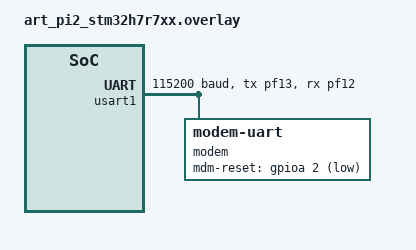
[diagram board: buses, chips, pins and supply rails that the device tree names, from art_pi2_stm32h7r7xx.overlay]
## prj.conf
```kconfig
# Copyright (c) 2021 Nordic Semiconductor ASA
# SPDX-License-Identifier: Apache-2.0
#
# This file contains selected Kconfig options for the application.
CONFIG_LOG=y
CONFIG_GPIO=y
CONFIG_SERIAL=y
CONFIG_MODEM=y
CONFIG_PM_DEVICE=y
CONFIG_PM_DEVICE_RUNTIME=y
CONFIG_MODEM_ZEPHYR_MODEM_UART=y
# CONFIG_UART_ASYNC_API=y
CONFIG_UART_INTERRUPT_DRIVEN=y
CONFIG_MODEM_MODULES_LOG_LEVEL_DBG=y

CONFIG_MODEM_CHAT=y
```

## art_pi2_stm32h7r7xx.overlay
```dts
/ {
	aliases {
			modem = &modem;
	};
};

&usart1 {
	pinctrl-0 = <&usart1_tx_pf13 &usart1_rx_pf12>;
	pinctrl-names = "default";
	current-speed = <115200>;
	status = "okay";
    	modem: modem {
		compatible = "zephyr,modem-uart";
		mdm-reset-gpios = <&gpioa 2 GPIO_ACTIVE_LOW>;
		// mdm-startup-time-ms = <1000>;
		status = "okay";
	};
};
```

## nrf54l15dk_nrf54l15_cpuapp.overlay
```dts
// To get started, press Ctrl+Space to bring up the completion menu and view the available nodes.

// You can also use the buttons in the sidebar to perform actions on nodes.
// Actions currently available include:

// * Enabling / disabling the node
// * Adding the bus to a bus
// * Removing the node
// * Connecting ADC channels

// For more help, browse the DeviceTree documentation at https: //docs.zephyrproject.org/latest/guides/dts/index.html
// You can also visit the nRF DeviceTree extension documentation at https: //docs.nordicsemi.com/bundle/nrf-connect-vscode/page/guides/ncs_configure_app.html#devicetree-support-in-the-extension
/ {
	aliases {
			modem = &modem;
	};
};

// &uart30 {
// 	status = "okay";
// 	modem: modem {
// 		compatible = "quectel,eg25-g";
// 		mdm-reset-gpios = <&gpio1 11 GPIO_ACTIVE_HIGH>;
// 		status = "okay";
// 	};
// };

// &uart30_default {
// 	group1 {
// 		psels = <NRF_PSEL(UART_TX, 0, 0)>;
// 	};

// 	group2 {
// 		psels = <NRF_PSEL(UART_RX, 0, 1)>;
// 		bias-pull-up;
// 	};
// };

&uart22 {
	current-speed = <115200>;
	// current-speed = <921600>;
	status = "okay";
	pinctrl-0 = <&uart22_default>;
	pinctrl-1 = <&uart22_sleep>;
	pinctrl-names = "default", "sleep";
	modem: modem {
		compatible = "zephyr,modem-uart";
		mdm-reset-gpios = <&gpio1 11 GPIO_ACTIVE_LOW>;
		// mdm-startup-time-ms = <1000>;
		status = "okay";
	};
};

&pinctrl {
	uart22_default: uart22_default {
		group1 {
			psels = <NRF_PSEL(UART_TX, 1, 12)>;
		};

		group2 {
			psels = <NRF_PSEL(UART_RX, 1, 13)>;
			bias-pull-up;
		};
	};
	uart22_sleep: uart30_sleep {
		group1 {
			psels = <NRF_PSEL(UART_TX, 0, 0)>,
				<NRF_PSEL(UART_RX, 0, 1)>;
			low-power-enable;
		};
	};
};
```

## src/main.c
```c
/*
 * Copyright (c) 2021 Nordic Semiconductor ASA
 * SPDX-License-Identifier: Apache-2.0
 */

#include <zephyr/kernel.h>
#include <zephyr/logging/log.h>
#include <zephyr/device.h>
#include <zephyr/pm/device.h>
#include <zephyr/pm/device_runtime.h>
#include <zephyr/modem/chat.h>
#include <zephyr/modem/pipelink.h>

LOG_MODULE_REGISTER(main, CONFIG_APP_LOG_LEVEL);

#define EG25G_MODEM_NODE    DT_ALIAS(modem)
#define EG25G_PIPELINK_NAME _CONCAT(user_pipe_, 0)

const struct device* modem = DEVICE_DT_GET(DT_ALIAS(modem));

MODEM_PIPELINK_DT_DECLARE(EG25G_MODEM_NODE, EG25G_PIPELINK_NAME);
static struct modem_pipelink* eg25g_pipelink = MODEM_PIPELINK_DT_GET(EG25G_MODEM_NODE,
                                                                     EG25G_PIPELINK_NAME);
uint8_t eg25g_chat_r_buf[128];
uint8_t* eg25g_chat_arg_buf[32];

static struct modem_chat eg25g_chat;
static struct modem_chat_config eg25g_chat_config = {
    .receive_buf      = eg25g_chat_r_buf,
    .receive_buf_size = sizeof(eg25g_chat_r_buf),
    .delimiter        = "\r",
    .delimiter_size   = 1,
    .filter           = "\n",
    .filter_size      = 1,
    .argv             = eg25g_chat_arg_buf,
    .argv_size        = ARRAY_SIZE(eg25g_chat_arg_buf),
};

static void modem_cellular_chat_callback_handler(struct modem_chat* chat,
                                                 enum modem_chat_script_result result,
                                                 void* user_data);
static void modem_cellular_chat_connect_callback_handler(struct modem_chat* chat,
                                                         enum modem_chat_script_result result,
                                                         void* user_data);

MODEM_CHAT_MATCH_DEFINE(ok_match, "OK", "", NULL);
MODEM_CHAT_MATCH_DEFINE(connect_match, "CONNECT", "", NULL);
MODEM_CHAT_MATCHES_DEFINE(abort_matches, MODEM_CHAT_MATCH("ERROR", "", NULL));
MODEM_CHAT_MATCHES_DEFINE(alow_matches,
                          MODEM_CHAT_MATCH("OK", "", NULL),
                          MODEM_CHAT_MATCH("ERROR", "", NULL));

MODEM_CHAT_SCRIPT_CMDS_DEFINE(eg25g_init_chat_script_cmds,
                              MODEM_CHAT_SCRIPT_CMD_RESP("AT&F", ok_match),
                              MODEM_CHAT_SCRIPT_CMD_RESP("ATE0", ok_match),
                              //   MODEM_CHAT_SCRIPT_CMD_RESP("AT+CFUN=4", ok_match),
                              MODEM_CHAT_SCRIPT_CMD_RESP("AT+CMEE=1", ok_match),
                              MODEM_CHAT_SCRIPT_CMD_RESP("AT+CREG=1", ok_match),
                              MODEM_CHAT_SCRIPT_CMD_RESP("AT+CGREG=1", ok_match),
                              MODEM_CHAT_SCRIPT_CMD_RESP("AT+CEREG=1", ok_match),
                              MODEM_CHAT_SCRIPT_CMD_RESP("AT+CREG?", ok_match),
                              MODEM_CHAT_SCRIPT_CMD_RESP("AT+CEREG?", ok_match),
                              MODEM_CHAT_SCRIPT_CMD_RESP("AT+CGREG?", ok_match),
                              MODEM_CHAT_SCRIPT_CMD_RESP("AT+CSQ", ok_match),
                              MODEM_CHAT_SCRIPT_CMD_RESP("AT+CPIN?", ok_match));
//   MODEM_CHAT_SCRIPT_CMD_RESP("AT+CGSN", imei_match),
//   MODEM_CHAT_SCRIPT_CMD_RESP("", ok_match),
//   MODEM_CHAT_SCRIPT_CMD_RESP("AT+CGMM", cgmm_match),
//   MODEM_CHAT_SCRIPT_CMD_RESP("", ok_match),
//   MODEM_CHAT_SCRIPT_CMD_RESP("AT+CGMI", cgmi_match),备忘AT+QIOPEN=1,0,"TCP","220.180.239.212",8009,0,2
//   MODEM_CHAT_SCRIPT_CMD_RESP("", ok_match),
//   MODEM_CHAT_SCRIPT_CMD_RESP("AT+CGMR", cgmr_match),
//   MODEM_CHAT_SCRIPT_CMD_RESP("", ok_match),
//   MODEM_CHAT_SCRIPT_CMD_RESP("AT+CIMI", cimi_match),
//   MODEM_CHAT_SCRIPT_CMD_RESP("", ok_match),
//   MODEM_CHAT_SCRIPT_CMD_RESP_NONE("AT+CMUX=0,0,5,127,10,3,30,10,2",
//                                   100));

MODEM_CHAT_SCRIPT_DEFINE(eg25g_init_chat_script,
                         eg25g_init_chat_script_cmds,
                         abort_matches,
                         modem_cellular_chat_callback_handler,
                         20);

MODEM_CHAT_SCRIPT_CMDS_DEFINE(
    eg25g_connect_chat_script_cmds,
    // MODEM_CHAT_SCRIPT_CMD_RESP("AT+CFUN=1", ok_match),
    // MODEM_CHAT_SCRIPT_CMD_RESP("AT+CREG?", ok_match),
    // MODEM_CHAT_SCRIPT_CMD_RESP("AT+CGDCONT=1,\"IP\",\"cmiot\"", ok_match),
    // MODEM_CHAT_SCRIPT_CMD_RESP_MULT("AT+CGACT=1,1", alow_matches),
    // MODEM_CHAT_SCRIPT_CMD_RESP("AT+CSQ", ok_match),
    MODEM_CHAT_SCRIPT_CMD_RESP("AT+QICSGP=1,1,\"cmiot\",\"\",\"\",0", ok_match),
    MODEM_CHAT_SCRIPT_CMD_RESP("AT+QIDEACT=1", ok_match),
    MODEM_CHAT_SCRIPT_CMD_RESP("AT+QIACT=1", ok_match),
    MODEM_CHAT_SCRIPT_CMD_RESP("AT+QIOPEN=1,0,\"TCP\",\"112.125.89.8\",46650,0,2", connect_match));

MODEM_CHAT_SCRIPT_DEFINE(eg25g_connect_chat_script,
                         eg25g_connect_chat_script_cmds,
                         abort_matches,
                         modem_cellular_chat_connect_callback_handler,
                         20);

MODEM_CHAT_SCRIPT_CMDS_DEFINE(eg25g_periodic_chat_script_cmds,
                              MODEM_CHAT_SCRIPT_CMD_RESP("AT+CREG?", ok_match),
                              MODEM_CHAT_SCRIPT_CMD_RESP("AT+CEREG?", ok_match),
                              MODEM_CHAT_SCRIPT_CMD_RESP("AT+CGREG?", ok_match),
                              MODEM_CHAT_SCRIPT_CMD_RESP("AT+CSQ", ok_match));

MODEM_CHAT_SCRIPT_DEFINE(eg25g_periodic_chat_script,
                         eg25g_periodic_chat_script_cmds,
                         abort_matches,
                         modem_cellular_chat_callback_handler,
                         20);
static struct k_work eg25g_pipe_open_work;

// static void eg25g_pipe_open_handler(struct k_work* work);

int main(void) {
    int ret;
    if (!device_is_ready(modem)) {
        printk("Modem device not ready\n");
        return -1;
    }
    printk("Powering on modem\n");
    k_msleep(150);
    // pm_device_action_run(modem, PM_DEVICE_ACTION_TURN_ON);
    // pm_device_action_run(modem, PM_DEVICE_ACTION_SUSPEND);
    // k_msleep(3);
    pm_device_action_run(modem, PM_DEVICE_ACTION_RESUME);
    k_msleep(10);
    // k_work_init(&eg25g_pipe_open_work, eg25g_pipe_open_handler);
    modem_chat_init(&eg25g_chat, &eg25g_chat_config);
    // modem_pipelink_attach(eg25g_pipelink, modem_pipelink_callback callback, );
    ret = modem_pipe_open(modem_pipelink_get_pipe(eg25g_pipelink), K_SECONDS(10));
    if (ret < 0) {
        printk("Failed to open modem pipe\n");
        return ret;
    }
    ret = modem_chat_attach(&eg25g_chat, modem_pipelink_get_pipe(eg25g_pipelink));
    if (ret < 0) {
        printk("Failed to attach modem chat\n");
        modem_pipe_close(modem_pipelink_get_pipe(eg25g_pipelink), K_SECONDS(10));
        return ret;
    }
    ret = modem_chat_run_script_async(&eg25g_chat, &eg25g_init_chat_script);
    if (ret < 0) {
        LOG_ERR("Failed to initialize");
        modem_pipe_close(modem_pipelink_get_pipe(eg25g_pipelink), K_SECONDS(10));
        return ret;
    }
    k_msleep(12000);
    ret = modem_chat_run_script_async(&eg25g_chat, &eg25g_connect_chat_script);
    if (ret < 0) {
        LOG_ERR("Failed to initialize");
        modem_pipe_close(modem_pipelink_get_pipe(eg25g_pipelink), K_SECONDS(10));
        return ret;
    }
    // modem_chat_script_abort(&eg25g_chat);
    // modem_chat_release(&eg25g_chat);
    while (1) {
        k_msleep(10000);
        // modem_chat_run_script_async(&eg25g_chat, &quectel_eg25_g_periodic_chat_script);
        modem_pipe_transmit(modem_pipelink_get_pipe(eg25g_pipelink),
                            "fdsgaferta\r",
                            sizeof("fdsgaferta\r"));
    }

    return 0;
}

static void eg25g_pipe_open_handler(struct k_work* work) {
    ARG_UNUSED(work);
}

static void modem_cellular_chat_callback_handler(struct modem_chat* chat,
                                                 enum modem_chat_script_result result,
                                                 void* user_data) {
    // struct modem_cellular_data* data = (struct modem_cellular_data*)user_data;

    if (result == MODEM_CHAT_SCRIPT_RESULT_SUCCESS) {
        LOG_INF(".....chat script success");
        // modem_cellular_delegate_event(data, MODEM_CELLULAR_EVENT_SCRIPT_SUCCESS);
    } else {
        LOG_INF(".....chat script failed");
        // modem_cellular_delegate_event(data, MODEM_CELLULAR_EVENT_SCRIPT_FAILED);
    }
}

static void modem_cellular_chat_connect_callback_handler(struct modem_chat* chat,
                                                         enum modem_chat_script_result result,
                                                         void* user_data) {
    // struct modem_cellular_data* data = (struct modem_cellular_data*)user_data;

    if (result == MODEM_CHAT_SCRIPT_RESULT_SUCCESS) {
        LOG_INF(".....chat script success");
        modem_chat_script_abort(&eg25g_chat);
        modem_chat_release(&eg25g_chat);
        // modem_cellular_delegate_event(data, MODEM_CELLULAR_EVENT_SCRIPT_SUCCESS);
    } else {
        LOG_INF(".....chat script failed");
        // modem_cellular_delegate_event(data, MODEM_CELLULAR_EVENT_SCRIPT_FAILED);
    }
}
```
